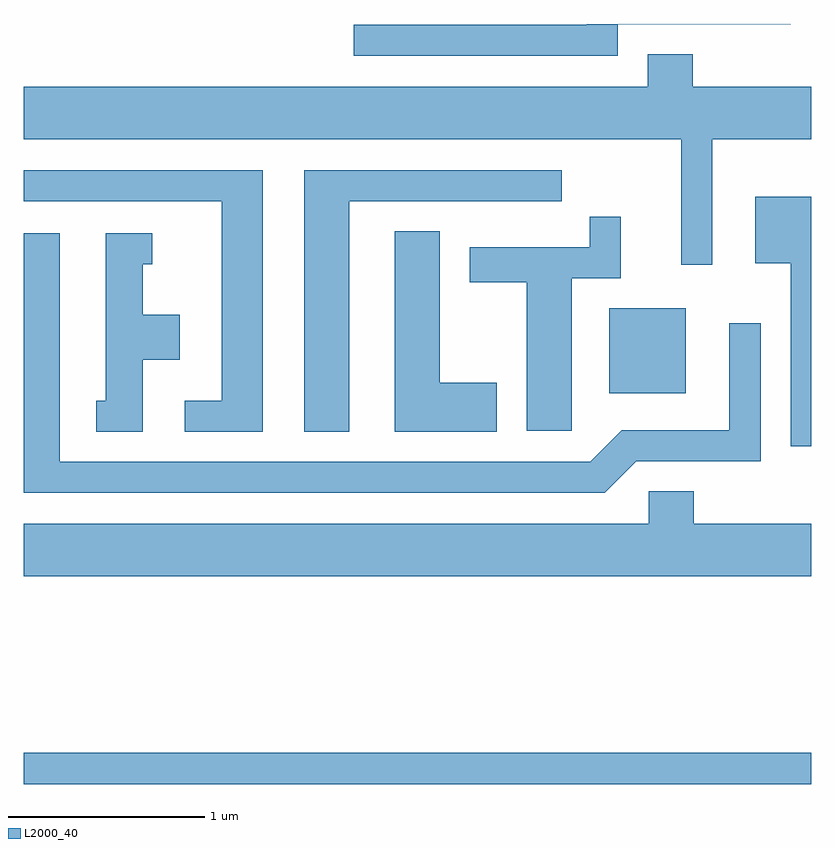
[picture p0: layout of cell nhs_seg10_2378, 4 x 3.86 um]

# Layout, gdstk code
import gdstk
lib = gdstk.Library(unit=1e-6, precision=1e-09)
def R(c, l, rs):  # rectangles x0, y0, x1, y1
    for r in rs: c.add(gdstk.rectangle(r[:2], r[2:], *l))
def P(c, l, *ps):  # polygons
    for p in ps: c.add(gdstk.Polygon(p, *l))
L2000_40 = (2000, 40)

nhs_seg10_2378 = lib.new_cell('nhs_seg10_2378')
R(nhs_seg10_2378, L2000_40, [(255.611,2090.661,259.611,2090.819), (258.586,2092.646,258.974,2093.079)])
P(nhs_seg10_2378, L2000_40, [(258.629,2094.521),(259.508,2094.521),(259.508,2094.522),(258.471,2094.522),(258.471,2094.519),(257.288,2094.519),(257.288,2094.361),(258.629,2094.361)],
  [(259.109,2093.936),(259.611,2093.936),(259.611,2094.204),(259.009,2094.204),(259.009,2094.369),(258.781,2094.369),(258.781,2094.204),(255.611,2094.204),(255.611,2093.936),(258.951,2093.936),(258.951,2093.298),(259.109,2093.298)],
  [(256.824,2093.779),(255.611,2093.779),(255.611,2093.621),(256.616,2093.621),(256.616,2092.609),(256.428,2092.609),(256.428,2092.451),(256.824,2092.451)],
  [(257.264,2093.621),(258.343,2093.621),(258.343,2093.779),(257.036,2093.779),(257.036,2092.451),(257.264,2092.451)],
  [(259.611,2093.644),(259.326,2093.644),(259.326,2093.306),(259.506,2093.306),(259.506,2092.378),(259.611,2092.378)],
  [(258.394,2093.231),(258.644,2093.231),(258.644,2093.543),(258.486,2093.543),(258.486,2093.389),(257.876,2093.389),(257.876,2093.211),(258.166,2093.211),(258.166,2092.456),(258.394,2092.456)],
  [(258.014,2092.699),(257.724,2092.699),(257.724,2093.469),(257.496,2093.469),(257.496,2092.451),(258.014,2092.451)],
  [(258.722,2092.301),(259.354,2092.301),(259.354,2093.003),(259.196,2093.003),(259.196,2092.459),(258.649,2092.459),(258.489,2092.299),(255.794,2092.299),(255.794,2093.459),(255.611,2093.459),(255.611,2092.141),(258.562,2092.141)],
  [(256.214,2092.816),(256.404,2092.816),(256.404,2093.044),(256.214,2093.044),(256.214,2093.301),(256.263,2093.301),(256.263,2093.459),(256.026,2093.459),(256.026,2092.609),(255.978,2092.609),(255.978,2092.451),(256.214,2092.451)],
  [(259.611,2091.984),(259.014,2091.984),(259.014,2092.149),(258.786,2092.149),(258.786,2091.984),(255.611,2091.984),(255.611,2091.716),(259.611,2091.716)])

lib.write_gds('nhs_seg10_2378.gds')
